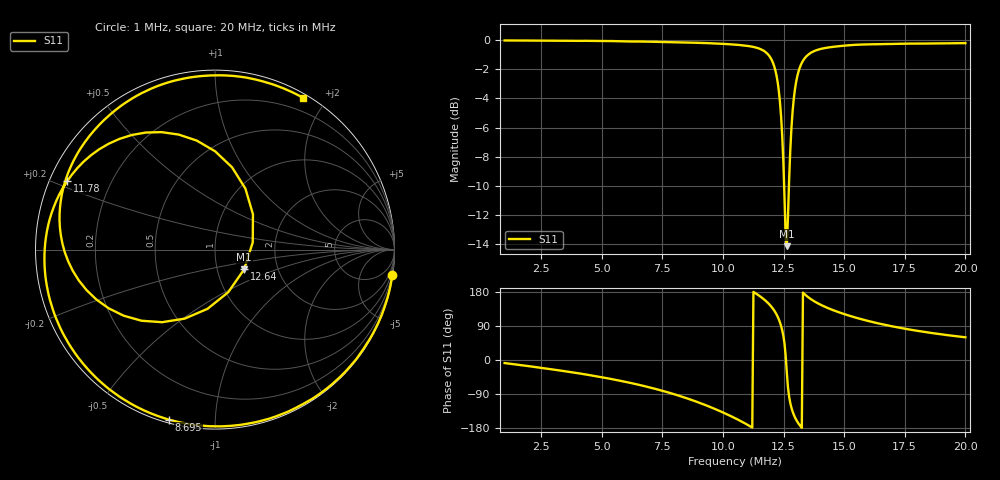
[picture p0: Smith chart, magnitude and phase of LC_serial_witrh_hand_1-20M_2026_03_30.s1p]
# HZ S RI R 50
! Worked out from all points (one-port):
!   401 points, 1 MHz to 20 MHz, reference 50 ohm
!   lowest |S11| = -14.1 dB at 12.64 MHz (marker M1), VSWR 1.49, Z = 67.4 - j15.4 ohm
!   |S11| at or under -10 dB: 12.53 MHz to 12.72 MHz (197.5 kHz wide, 1.56 % of centre)
!   S11 on the Smith chart (normalised r, x): 1 MHz: 0, -14; 8.695 MHz: 0.01, -0.77; 11.78 MHz: 0.05, +0.22; 12.64 MHz: 1.35, -0.31; 20 MHz: 0.05, +1.73
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1000000  0.9886 -0.1399
3375000  0.875 -0.4761
5750000  0.5749 -0.8092
6937500  0.3115 -0.9387
8125000  -0.0507 -0.9826
8695000  -0.2547 -0.9477
9645000  -0.6064 -0.764
1.05e7  -0.8643 -0.4319
1.126e7  -0.9486 0.00451
1.17825e7  -0.8235 0.3815
1.20675e7  -0.5922 0.5898
1.221e7  -0.385 0.6523
1.2305e7  -0.2025 0.6409
1.24e7  0.00064 0.5477
1.2495e7  0.1694 0.3399
1.259e7  0.2104 0.0405
1.26375e7  0.1625 -0.1098
1.27325e7  -0.0419 -0.3301
1.2875e7  -0.4093 -0.3963
1.297e7  -0.5924 -0.3271
1.31125e7  -0.7585 -0.1721
1.3445e7  -0.8663 0.1611
1.37775e7  -0.8302 0.3942
1.4205e7  -0.726 0.5976
1.525e7  -0.4238 0.8638
1.62475e7  -0.1514 0.9572
1.7625e7  0.1491 0.9622
2e7  0.4903 0.8458
